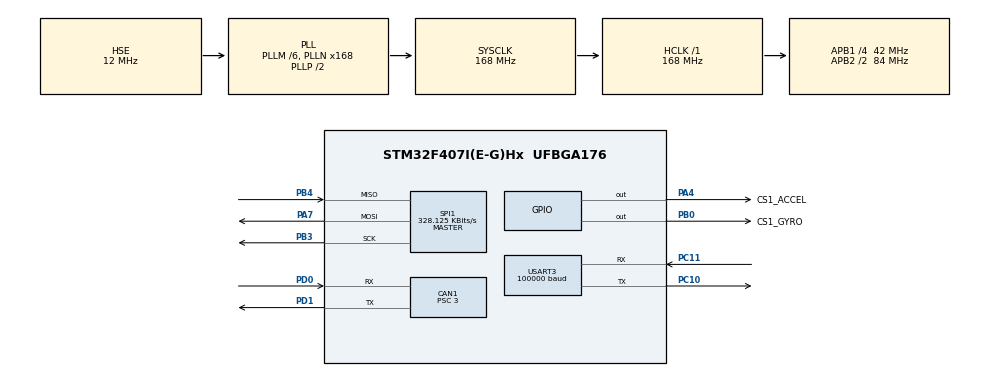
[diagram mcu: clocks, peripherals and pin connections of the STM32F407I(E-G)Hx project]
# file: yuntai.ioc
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CAN1.BS1=CAN_BS1_11TQ
CAN1.BS2=CAN_BS2_2TQ
CAN1.CalculateBaudRate=1000000
CAN1.CalculateTimeBit=1000
CAN1.CalculateTimeQuantum=71.42857142857143
CAN1.Prescaler=3
Dma.Request0=USART3_RX
Dma.USART3_RX.0.Direction=DMA_PERIPH_TO_MEMORY
Dma.USART3_RX.0.FIFOMode=DMA_FIFOMODE_DISABLE
Dma.USART3_RX.0.Instance=DMA1_Stream1
Dma.USART3_RX.0.MemDataAlignment=DMA_MDATAALIGN_BYTE
Dma.USART3_RX.0.MemInc=DMA_MINC_ENABLE
Dma.USART3_RX.0.Mode=DMA_NORMAL
Dma.USART3_RX.0.PeriphDataAlignment=DMA_PDATAALIGN_BYTE
Dma.USART3_RX.0.PeriphInc=DMA_PINC_DISABLE
Dma.USART3_RX.0.Priority=DMA_PRIORITY_LOW
FREERTOS.Tasks01=defaultTask,24,128,StartDefaultTask,Default,NULL,Dynamic,NULL,NULL
Mcu.Family=STM32F4
Mcu.Name=STM32F407I(E-G)Hx
Mcu.Package=UFBGA176
NVIC.CAN1_RX0_IRQn=true\:5\:0\:false\:false\:true\:true\:true\:true\:true
NVIC.DMA1_Stream1_IRQn=true\:5\:0\:false\:false\:true\:true\:false\:true\:true
NVIC.PriorityGroup=NVIC_PRIORITYGROUP_4
NVIC.SPI1_IRQn=true\:5\:0\:false\:false\:true\:true\:true\:true\:true
NVIC.TIM6_DAC_IRQn=true\:15\:0\:true\:false\:true\:false\:false\:true\:true
NVIC.TimeBase=TIM6_DAC_IRQn
NVIC.TimeBaseIP=TIM6
NVIC.USART3_IRQn=true\:5\:0\:false\:false\:true\:true\:true\:true\:true
PA13.Mode=Serial_Wire
PA13.Signal=SYS_JTMS-SWDIO
PA14.Mode=Serial_Wire
PA14.Signal=SYS_JTCK-SWCLK
PA4.GPIO_Label=CS1_ACCEL
PA4.GPIO_PuPd=GPIO_PULLUP
PA4.GPIO_Speed=GPIO_SPEED_FREQ_HIGH
PA4.PinState=GPIO_PIN_SET
PA4.Signal=GPIO_Output
PA7.Mode=Full_Duplex_Master
PA7.Signal=SPI1_MOSI
PB0.GPIO_Label=CS1_GYRO
PB0.GPIO_PuPd=GPIO_PULLUP
PB0.GPIO_Speed=GPIO_SPEED_FREQ_HIGH
PB0.PinState=GPIO_PIN_SET
PB0.Signal=GPIO_Output
PB3.Mode=Full_Duplex_Master
PB3.Signal=SPI1_SCK
PB4.Mode=Full_Duplex_Master
PB4.Signal=SPI1_MISO
PC10.Mode=Asynchronous
PC10.Signal=USART3_TX
PC11.Mode=Asynchronous
PC11.Signal=USART3_RX
PD0.Mode=CAN_Activate
PD0.Signal=CAN1_RX
PD1.Mode=CAN_Activate
PD1.Signal=CAN1_TX
PH0-OSC_IN.Mode=HSE-External-Oscillator
PH0-OSC_IN.Signal=RCC_OSC_IN
PH1-OSC_OUT.Mode=HSE-External-Oscillator
PH1-OSC_OUT.Signal=RCC_OSC_OUT
ProjectManager.HeapSize=0x8000
ProjectManager.StackSize=0x8000
ProjectManager.TargetToolchain=CMake
RCC.48MHZClocksFreq_Value=84000000
RCC.AHBFreq_Value=168000000
RCC.APB1CLKDivider=RCC_HCLK_DIV4
RCC.APB1Freq_Value=42000000
RCC.APB1TimFreq_Value=84000000
RCC.APB2CLKDivider=RCC_HCLK_DIV2
RCC.APB2Freq_Value=84000000
RCC.APB2TimFreq_Value=168000000
RCC.CortexFreq_Value=168000000
RCC.HCLKFreq_Value=168000000
RCC.HSE_VALUE=12000000
RCC.HSI_VALUE=16000000
RCC.LSE_VALUE=32768
RCC.PLLM=6
RCC.PLLN=168
RCC.PLLSourceVirtual=RCC_PLLSOURCE_HSE
RCC.SYSCLKFreq_VALUE=168000000
RCC.SYSCLKSource=RCC_SYSCLKSOURCE_PLLCLK
RCC.VCOOutputFreq_Value=336000000
SPI1.BaudRatePrescaler=SPI_BAUDRATEPRESCALER_256
SPI1.CLKPhase=SPI_PHASE_2EDGE
SPI1.CLKPolarity=SPI_POLARITY_HIGH
SPI1.CalculateBaudRate=328.125 KBits/s
SPI1.Direction=SPI_DIRECTION_2LINES
SPI1.Mode=SPI_MODE_MASTER
SPI1.VirtualType=VM_MASTER
USART3.BaudRate=100000
USART3.Parity=PARITY_EVEN
USART3.VirtualMode=VM_ASYNC
USART3.WordLength=WORDLENGTH_9B
VP_FREERTOS_VS_CMSIS_V2.Mode=CMSIS_V2
VP_SYS_VS_tim6.Mode=TIM6
board=custom

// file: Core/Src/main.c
/* USER CODE BEGIN Header */
/**
  ******************************************************************************
  * @file           : main.c
  * @brief          : Main program body
  ******************************************************************************
  * @attention
  *
  * Copyright (c) 2025 STMicroelectronics.
  * All rights reserved.
  *
  * This software is licensed under terms that can be found in the LICENSE file
  * in the root directory of this software component.
  * If no LICENSE file comes with this software, it is provided AS-IS.
  *
  ******************************************************************************
  */
/* USER CODE END Header */
#include "main.h"
#include "cmsis_os.h"
#include "can.h"
#include "dma.h"
#include "spi.h"
#include "usart.h"
#include "gpio.h"

void SystemClock_Config(void);
void MX_FREERTOS_Init(void);

/* USER CODE BEGIN 0 */

CAN_RxHeaderTypeDef rx_header;
CAN_TxHeaderTypeDef tx_header = { .StdId = 0x1FE,
                                  .ExtId = 0,
                                  .IDE = CAN_ID_STD,
                                  .RTR = CAN_RTR_DATA,
                                  .DLC = 8,
                                  .TransmitGlobalTime = DISABLE };
CAN_FilterTypeDef filter_config = { .FilterIdHigh = 0x0000,
                                    .FilterIdLow = 0x0000,
                                    .FilterMaskIdHigh = 0x0000,
                                    .FilterMaskIdLow = 0x0000,
                                    .FilterFIFOAssignment = CAN_FILTER_FIFO0,
                                    .FilterBank = 0,
                                    .FilterMode = CAN_FILTERMODE_IDMASK,
                                    .FilterScale = CAN_FILTERSCALE_32BIT,
                                    .FilterActivation = ENABLE };

/* USER CODE END 0 */

int main(void)
{

  /* MCU Configuration--------------------------------------------------------*/

  /* Reset of all peripherals, Initializes the Flash interface and the Systick. */
  HAL_Init();

  /* Configure the system clock */
  SystemClock_Config();

  /* Initialize all configured peripherals */
  MX_GPIO_Init();
  MX_DMA_Init();
  MX_SPI1_Init();
  MX_USART3_UART_Init();
  MX_CAN1_Init();
  /* USER CODE BEGIN 2 */
  HAL_CAN_ConfigFilter(&hcan1, &filter_config);
  HAL_CAN_Start(&hcan1);
  HAL_CAN_ActivateNotification(&hcan1, CAN_IT_RX_FIFO0_MSG_PENDING);
  init();
  /* USER CODE END 2 */

  /* Init scheduler */
  osKernelInitialize();  /* Call init function for freertos objects (in cmsis_os2.c) */
  MX_FREERTOS_Init();

  /* Start scheduler */
  osKernelStart();

  /* We should never get here as control is now taken by the scheduler */

  /* Infinite loop */
  while (1)
  {

  }
}

void SystemClock_Config(void)
{
  RCC_OscInitTypeDef RCC_OscInitStruct = {0};
  RCC_ClkInitTypeDef RCC_ClkInitStruct = {0};

  /** Configure the main internal regulator output voltage
  */
  __HAL_RCC_PWR_CLK_ENABLE();
  __HAL_PWR_VOLTAGESCALING_CONFIG(PWR_REGULATOR_VOLTAGE_SCALE1);

  /** Initializes the RCC Oscillators according to the specified parameters
  * in the RCC_OscInitTypeDef structure.
  */
  RCC_OscInitStruct.OscillatorType = RCC_OSCILLATORTYPE_HSE;
  RCC_OscInitStruct.HSEState = RCC_HSE_ON;
  RCC_OscInitStruct.PLL.PLLState = RCC_PLL_ON;
  RCC_OscInitStruct.PLL.PLLSource = RCC_PLLSOURCE_HSE;
  RCC_OscInitStruct.PLL.PLLM = 6;
  RCC_OscInitStruct.PLL.PLLN = 168;
  RCC_OscInitStruct.PLL.PLLP = RCC_PLLP_DIV2;
  RCC_OscInitStruct.PLL.PLLQ = 4;
  if (HAL_RCC_OscConfig(&RCC_OscInitStruct) != HAL_OK)
  {
    Error_Handler();
  }

  /** Initializes the CPU, AHB and APB buses clocks
  */
  RCC_ClkInitStruct.ClockType = RCC_CLOCKTYPE_HCLK|RCC_CLOCKTYPE_SYSCLK
                              |RCC_CLOCKTYPE_PCLK1|RCC_CLOCKTYPE_PCLK2;
  RCC_ClkInitStruct.SYSCLKSource = RCC_SYSCLKSOURCE_PLLCLK;
  RCC_ClkInitStruct.AHBCLKDivider = RCC_SYSCLK_DIV1;
  RCC_ClkInitStruct.APB1CLKDivider = RCC_HCLK_DIV4;
  RCC_ClkInitStruct.APB2CLKDivider = RCC_HCLK_DIV2;

  if (HAL_RCC_ClockConfig(&RCC_ClkInitStruct, FLASH_LATENCY_5) != HAL_OK)
  {
    Error_Handler();
  }
}

void HAL_TIM_PeriodElapsedCallback(TIM_HandleTypeDef *htim)
{
  if (htim->Instance == TIM6)
  {
    HAL_IncTick();
  }
}

void Error_Handler(void)
{
  __disable_irq();
  while (1)
  {
  }
}

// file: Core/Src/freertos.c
/* USER CODE BEGIN Header */
/**
  ******************************************************************************
  * File Name          : freertos.c
  * Description        : Code for freertos applications
  ******************************************************************************
  * @attention
  *
  * Copyright (c) 2025 STMicroelectronics.
  * All rights reserved.
  *
  * This software is licensed under terms that can be found in the LICENSE file
  * in the root directory of this software component.
  * If no LICENSE file comes with this software, it is provided AS-IS.
  *
  ******************************************************************************
  */
/* USER CODE END Header */

#include "FreeRTOS.h"
#include "task.h"
#include "main.h"
#include "cmsis_os.h"

/* USER CODE BEGIN Includes */
#include "cmsis_os2.h"
#include "../../Usercode/Inc/user_tasks.h"
/* USER CODE END Includes */

/* Definitions for defaultTask */
osThreadId_t defaultTaskHandle;
const osThreadAttr_t defaultTask_attributes = {
  .name = "defaultTask",
  .stack_size = 128 * 4,
  .priority = (osPriority_t) osPriorityNormal,
};

void StartDefaultTask(void *argument);

void MX_FREERTOS_Init(void); /* (MISRA C 2004 rule 8.1) */

void MX_FREERTOS_Init(void) {
  /* USER CODE BEGIN Init */
   user_tasks_init();
  /* USER CODE END Init */

  /* Create the thread(s) */
  /* creation of defaultTask */
  defaultTaskHandle = osThreadNew(StartDefaultTask, NULL, &defaultTask_attributes);

}

void StartDefaultTask(void *argument)
{
  for(;;)
  {
    osDelay(1);
  }
}
